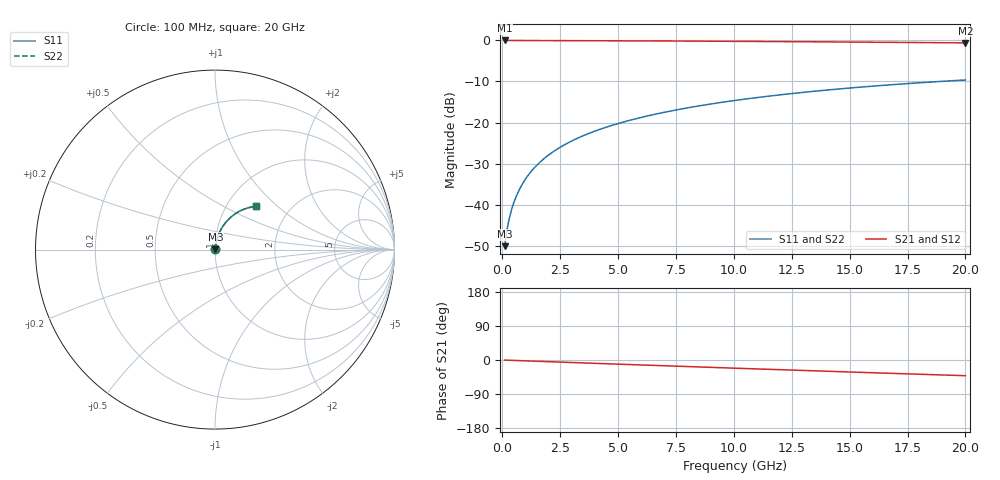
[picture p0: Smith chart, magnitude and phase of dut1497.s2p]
! Touchstone file exported from HFSS 2026.1.0
!  File:  C:/ffzhzh/LocalFiles/Ansys_Project_Files/temp_train_BSMRDL_1497_1783181662_51560.aedt
!  Generated:  12:15:40 AM Jul  5, 2026
!  Design:  BSMRDL
!  Project:  temp_train_BSMRDL_1497_1783181662_51560
! Variables:
!  h_bsmrdl = 5.25um
!  h_ox = 20um
!  h_rdl = 5um
!  h_sub = 80um
!  h_tmrdl = 5um
!  h_tsv = 80um
!  h_via = 3um
!  l_bsmrdl = 642.91um
!  l_sub = 1042.91um
!  l_tmrdl = 200um
!  m_sub = 200um
!  pitch = 43.21um
!  r_tsv = 6um
!  s_tmrdl = 10um
!  w_bsmrdl = 21.27um
!  w_sub = 500um
!  w_tmrdl = 12um
!  x_tsv_center1 = 206um
!  x_tsv_center2 = 870.18um
!  x_tsv_center3 = 1082.18um
!  x_tsv_center4 = 1746.36um
!  x_tsv_center5 = 1958.36um
!  x_tsv_center6 = 2622.54um
# GHz S MA R 50.000000
! Terminal data exported
! Port[1] = BSM_RDL1_1_T1
! Port[2] = BSM_RDL1_1_T2
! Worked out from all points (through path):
!   200 points, 100 MHz to 20 GHz, reference 50 ohm
!   highest |S21| = -0.02 dB at 100 MHz (marker M1); lowest = -0.6 dB at 20 GHz (marker M2)
!   group delay of S21, straight-line fit = 5.75 ps
!   lowest |S11| = -50.1 dB at 100 MHz (marker M3), VSWR 1.01, Z = 50.2 + j0.223 ohm
!   |S11| at or under -10 dB: start of sweep to 18.88 GHz
!   |S22| runs from -50.1 to -9.6 dB; largest |S21 - S12| = 2.8e-15
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0.1  0.003141 45.1  0.9978 -0.2  0.9978 -0.2  0.003141 45.1
! Gamma 0 0 0 0
! Port Impedance 50 0 50 0
0.2  0.004932 60.8  0.9976 -0.5  0.9976 -0.5  0.004932 60.8
0.3  0.006813 67.9  0.9975 -0.7  0.9975 -0.7  0.006813 67.9
0.4  0.008726 72.0  0.9974 -0.9  0.9974 -0.9  0.008726 72.0
0.5  0.01066 74.6  0.9973 -1.1  0.9973 -1.1  0.01066 74.6
0.6  0.01262 76.4  0.9972 -1.4  0.9972 -1.4  0.01262 76.4
0.8  0.01657 78.6  0.9971 -1.8  0.9971 -1.8  0.01657 78.6
1.1  0.02253 80.1  0.9968 -2.5  0.9968 -2.5  0.02253 80.1
1.5  0.03048 80.7  0.9964 -3.4  0.9964 -3.4  0.03048 80.7
1.8  0.03642 80.7  0.996 -4.0  0.996 -4.0  0.03642 80.7
2.1  0.04232 80.5  0.9955 -4.7  0.9955 -4.7  0.04232 80.5
2.7  0.05401 79.7  0.9945 -6.0  0.9945 -6.0  0.05401 79.7
3.5  0.06935 78.3  0.9929 -7.7  0.9929 -7.7  0.06935 78.3
4.2  0.08255 77.1  0.9913 -9.3  0.9913 -9.3  0.08255 77.0
5  0.0974 75.5  0.9893 -11.0  0.9893 -11.0  0.0974 75.5
5.9  0.1138 73.8  0.987 -12.9  0.987 -12.9  0.1138 73.8
6.8  0.13 72.1  0.9845 -14.8  0.9845 -14.8  0.13 72.1
8.3  0.1563 69.2  0.9799 -18.0  0.9799 -18.0  0.1563 69.2
10.1  0.1868 65.7  0.9738 -21.7  0.9738 -21.7  0.1868 65.6
13.4  0.2395 59.2  0.9613 -28.5  0.9613 -28.5  0.2395 59.2
16.7  0.2874 52.9  0.9474 -35.0  0.9474 -35.0  0.2874 52.9
20  0.3302 46.7  0.933 -41.4  0.933 -41.4  0.3302 46.7
